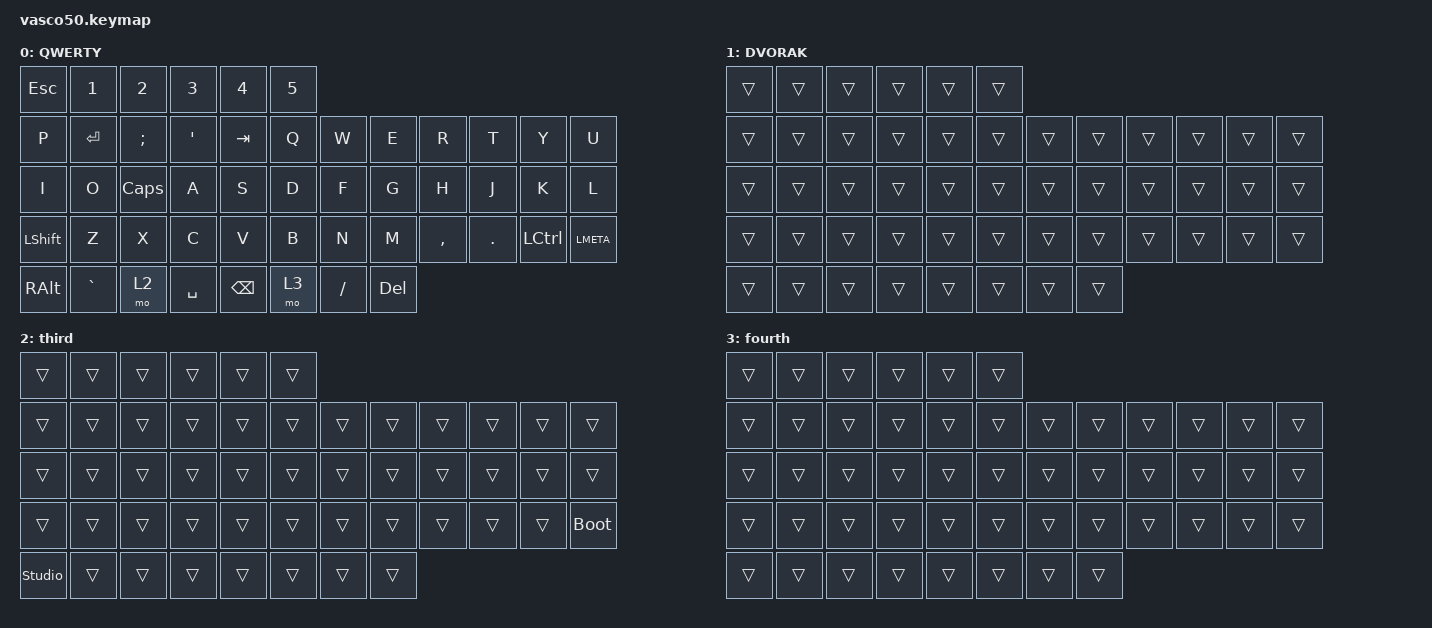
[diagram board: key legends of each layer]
// This file was generated from a template. Edit it to match your keyboard.
// See https://zmk.dev/docs/development/hardware-integration/new-shield for more instructions.

#include <behaviors.dtsi>
#include <dt-bindings/zmk/keys.h>

/ {
    // Define a default keymap here.
    // See https://zmk.dev/docs/development/hardware-integration/new-shield#default-keymap.
    keymap {
        compatible = "zmk,keymap";

        default_layer {
            display-name = "QWERTY";
            bindings = <
                &kp ESC    &kp N1    &kp N2   &kp N3    &kp N4  &kp N5    &kp P    &kp ENTER &kp SEMI  &kp APOS
                &kp TAB    &kp Q     &kp W    &kp E     &kp R   &kp T     &kp Y    &kp U     &kp I     &kp O
                &kp CAPS   &kp A     &kp S    &kp D     &kp F   &kp G     &kp H    &kp J     &kp K     &kp L
                &kp LSHIFT &kp Z     &kp X    &kp C     &kp V   &kp B     &kp N    &kp M     &kp COMMA &kp PERIOD
                &kp LCTRL  &kp LMETA &kp RALT &kp GRAVE &mo 2   &kp SPACE &kp BSPC &mo 3     &kp SLASH &kp DEL 
            >;
        };
        dvorak {
            display-name = "DVORAK";
            bindings = <
                &trans &trans &trans &trans &trans &trans &trans &trans &trans &trans
                &trans &trans &trans &trans &trans &trans &trans &trans &trans &trans
                &trans &trans &trans &trans &trans &trans &trans &trans &trans &trans
                &trans &trans &trans &trans &trans &trans &trans &trans &trans &trans
                &trans &trans &trans &trans &trans &trans &trans &trans &trans &trans
            >;
        };
         third {
            display-name = "third";
            bindings = <
                &trans &trans &trans &trans &trans &trans &trans &trans &trans &trans
                &trans &trans &trans &trans &trans &trans &trans &trans &trans &trans
                &trans &trans &trans &trans &trans &trans &trans &trans &trans &trans
                &trans &trans &trans &trans &trans &trans &trans &trans &trans &trans
                &trans &bootloader &studio_unlock &trans &trans &trans &trans &trans &trans &trans
            >;
        };      
        fourth {
            display-name = "fourth";
            bindings = <
                &trans &trans &trans &trans &trans &trans &trans &trans &trans &trans
                &trans &trans &trans &trans &trans &trans &trans &trans &trans &trans
                &trans &trans &trans &trans &trans &trans &trans &trans &trans &trans
                &trans &trans &trans &trans &trans &trans &trans &trans &trans &trans
                &trans &trans &trans &trans &trans &trans &trans &trans &trans &trans
            >;
        };
    };
};
